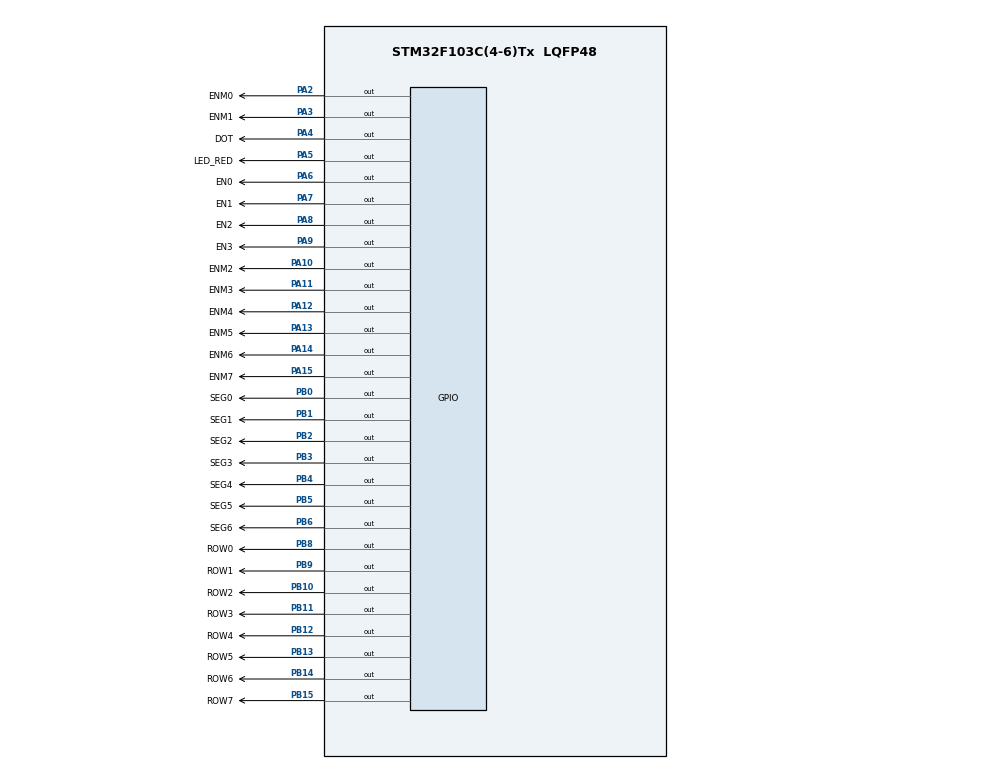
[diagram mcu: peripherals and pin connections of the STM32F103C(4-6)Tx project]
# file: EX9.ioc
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Mcu.Family=STM32F1
Mcu.Name=STM32F103C(4-6)Tx
Mcu.Package=LQFP48
NVIC.PriorityGroup=NVIC_PRIORITYGROUP_4
NVIC.TIM2_IRQn=true\:0\:0\:false\:false\:true\:true\:true
PA10.GPIO_Label=ENM2
PA10.Signal=GPIO_Output
PA11.GPIO_Label=ENM3
PA11.Signal=GPIO_Output
PA12.GPIO_Label=ENM4
PA12.Signal=GPIO_Output
PA13.GPIO_Label=ENM5
PA13.Signal=GPIO_Output
PA14.GPIO_Label=ENM6
PA14.Signal=GPIO_Output
PA15.GPIO_Label=ENM7
PA15.Signal=GPIO_Output
PA2.GPIO_Label=ENM0
PA2.Signal=GPIO_Output
PA3.GPIO_Label=ENM1
PA3.Signal=GPIO_Output
PA4.GPIO_Label=DOT
PA4.Signal=GPIO_Output
PA5.GPIO_Label=LED_RED
PA5.Signal=GPIO_Output
PA6.GPIO_Label=EN0
PA6.Signal=GPIO_Output
PA7.GPIO_Label=EN1
PA7.Signal=GPIO_Output
PA8.GPIO_Label=EN2
PA8.Signal=GPIO_Output
PA9.GPIO_Label=EN3
PA9.Signal=GPIO_Output
PB0.GPIO_Label=SEG0
PB0.Signal=GPIO_Output
PB1.GPIO_Label=SEG1
PB1.Signal=GPIO_Output
PB10.GPIO_Label=ROW2
PB10.Signal=GPIO_Output
PB11.GPIO_Label=ROW3
PB11.Signal=GPIO_Output
PB12.GPIO_Label=ROW4
PB12.Signal=GPIO_Output
PB13.GPIO_Label=ROW5
PB13.Signal=GPIO_Output
PB14.GPIO_Label=ROW6
PB14.Signal=GPIO_Output
PB15.GPIO_Label=ROW7
PB15.Signal=GPIO_Output
PB2.GPIO_Label=SEG2
PB2.Signal=GPIO_Output
PB3.GPIO_Label=SEG3
PB3.Signal=GPIO_Output
PB4.GPIO_Label=SEG4
PB4.Signal=GPIO_Output
PB5.GPIO_Label=SEG5
PB5.Signal=GPIO_Output
PB6.GPIO_Label=SEG6
PB6.Signal=GPIO_Output
PB8.GPIO_Label=ROW0
PB8.Signal=GPIO_Output
PB9.GPIO_Label=ROW1
PB9.Signal=GPIO_Output
ProjectManager.HeapSize=0x200
ProjectManager.StackSize=0x400
ProjectManager.TargetToolchain=STM32CubeIDE
RCC.APB1Freq_Value=8000000
RCC.APB2Freq_Value=8000000
TIM2.Period=9
TIM2.Prescaler=7999
VP_SYS_VS_ND.Mode=No_Debug
VP_TIM2_VS_ClockSourceINT.Mode=Internal
board=custom

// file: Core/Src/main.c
/* USER CODE BEGIN Header */
/**
  ******************************************************************************
  * @file           : main.c
  * @brief          : Main program body
  ******************************************************************************
  * @attention
  *
  * <h2><center>&copy; Copyright (c) 2024 STMicroelectronics.
  * All rights reserved.</center></h2>
  *
  * This software component is licensed by ST under BSD 3-Clause license,
  * the "License"; You may not use this file except in compliance with the
  * License. You may obtain a copy of the License at:
  *                        opensource.org/licenses/BSD-3-Clause
  *
  ******************************************************************************
  */
/* USER CODE END Header */
#include "main.h"

/* USER CODE BEGIN Includes */
#include "updateLEDMatrix.h"
#include "updateCharA.h"
#include "shiftLeft.h"
/* USER CODE END Includes */

TIM_HandleTypeDef htim2;

void SystemClock_Config(void);
static void MX_TIM2_Init(void);
static void MX_GPIO_Init(void);

/* USER CODE BEGIN 0 */
int timer0_counter = 0;
int timer0_flag = 0;
int TIMER_CYCLE = 10;
void setTimer0(int duration)
{
	timer0_counter = duration/TIMER_CYCLE;
	timer0_flag = 0;
}
void timer_run()
{
	if(timer0_counter > 0 )
	{
		timer0_counter --;
	}
	if(timer0_counter == 0) timer0_flag = 1;
}
/* USER CODE END 0 */

int main(void)
{
  /* USER CODE BEGIN 1 */
	// ex10
	cloneMatrix();
  /* USER CODE END 1 */

  /* MCU Configuration--------------------------------------------------------*/

  /* Reset of all peripherals, Initializes the Flash interface and the Systick. */
  HAL_Init();

  /* Configure the system clock */
  SystemClock_Config();

  /* Initialize all configured peripherals */
  MX_TIM2_Init();
  MX_GPIO_Init();
  /* USER CODE BEGIN 2 */
  HAL_TIM_Base_Start_IT(&htim2);
  /* USER CODE END 2 */

  /* Infinite loop */
  /* USER CODE BEGIN WHILE */
  setTimer0 (10);
//  int counter_matrix = 0;
  int counter_chA = 0;
//   int matrix_flag = 1; ex9

   	 //ex10
    int counter_for_shift = 100;
  while (1)
  {
	  //ex9
	  /*if(timer0_flag == 1)
	  	  {
	  		  if(matrix_flag == 1)
	  		  {
	  			  updateLEDMatrix(counter_matrix++);
	  			  if(counter_matrix == 8) matrix_flag = 0;
	  		  }
	  		  else
	  		  {
	  			  updateCharA(counter_chA++);
	  			  if(counter_chA == 8)
	  			  {
	  				  counter_chA = 0;
	  			  }
	  		  }
	  		  setTimer0(10);
	  	  }
	  	  */
	  if(timer0_flag == 1)
	  	  {
	  		  counter_for_shift--;
	  		  if(counter_for_shift <= 0)
	  		  {
	  			  shiftLeft(matrix);
	  			  counter_for_shift = 100;
	  		  }
	  		  updateCharA(counter_chA++, matrix);
	  		  if(counter_chA == 8)
	  		  {
	  			  counter_chA = 0;
	  		  }
	  		  setTimer0(10);
	  	  }
    /* USER CODE END WHILE */

  }
}

void SystemClock_Config(void)
{
  RCC_OscInitTypeDef RCC_OscInitStruct = {0};
  RCC_ClkInitTypeDef RCC_ClkInitStruct = {0};

  /** Initializes the RCC Oscillators according to the specified parameters
  * in the RCC_OscInitTypeDef structure.
  */
  RCC_OscInitStruct.OscillatorType = RCC_OSCILLATORTYPE_HSI;
  RCC_OscInitStruct.HSIState = RCC_HSI_ON;
  RCC_OscInitStruct.HSICalibrationValue = RCC_HSICALIBRATION_DEFAULT;
  RCC_OscInitStruct.PLL.PLLState = RCC_PLL_NONE;
  if (HAL_RCC_OscConfig(&RCC_OscInitStruct) != HAL_OK)
  {
    Error_Handler();
  }
  /** Initializes the CPU, AHB and APB buses clocks
  */
  RCC_ClkInitStruct.ClockType = RCC_CLOCKTYPE_HCLK|RCC_CLOCKTYPE_SYSCLK
                              |RCC_CLOCKTYPE_PCLK1|RCC_CLOCKTYPE_PCLK2;
  RCC_ClkInitStruct.SYSCLKSource = RCC_SYSCLKSOURCE_HSI;
  RCC_ClkInitStruct.AHBCLKDivider = RCC_SYSCLK_DIV1;
  RCC_ClkInitStruct.APB1CLKDivider = RCC_HCLK_DIV1;
  RCC_ClkInitStruct.APB2CLKDivider = RCC_HCLK_DIV1;

  if (HAL_RCC_ClockConfig(&RCC_ClkInitStruct, FLASH_LATENCY_0) != HAL_OK)
  {
    Error_Handler();
  }
}

static void MX_TIM2_Init(void)
{

  TIM_ClockConfigTypeDef sClockSourceConfig = {0};
  TIM_MasterConfigTypeDef sMasterConfig = {0};

  htim2.Instance = TIM2;
  htim2.Init.Prescaler = 7999;
  htim2.Init.CounterMode = TIM_COUNTERMODE_UP;
  htim2.Init.Period = 9;
  htim2.Init.ClockDivision = TIM_CLOCKDIVISION_DIV1;
  htim2.Init.AutoReloadPreload = TIM_AUTORELOAD_PRELOAD_DISABLE;
  if (HAL_TIM_Base_Init(&htim2) != HAL_OK)
  {
    Error_Handler();
  }
  sClockSourceConfig.ClockSource = TIM_CLOCKSOURCE_INTERNAL;
  if (HAL_TIM_ConfigClockSource(&htim2, &sClockSourceConfig) != HAL_OK)
  {
    Error_Handler();
  }
  sMasterConfig.MasterOutputTrigger = TIM_TRGO_RESET;
  sMasterConfig.MasterSlaveMode = TIM_MASTERSLAVEMODE_DISABLE;
  if (HAL_TIMEx_MasterConfigSynchronization(&htim2, &sMasterConfig) != HAL_OK)
  {
    Error_Handler();
  }

}

static void MX_GPIO_Init(void)
{
  GPIO_InitTypeDef GPIO_InitStruct = {0};

  /* GPIO Ports Clock Enable */
  __HAL_RCC_GPIOA_CLK_ENABLE();
  __HAL_RCC_GPIOB_CLK_ENABLE();

  /*Configure GPIO pin Output Level */
  HAL_GPIO_WritePin(GPIOA, ENM0_Pin|ENM1_Pin|DOT_Pin|LED_RED_Pin
                          |EN0_Pin|EN1_Pin|EN2_Pin|EN3_Pin
                          |ENM2_Pin|ENM3_Pin|ENM4_Pin|ENM5_Pin
                          |ENM6_Pin|ENM7_Pin, GPIO_PIN_RESET);

  /*Configure GPIO pin Output Level */
  HAL_GPIO_WritePin(GPIOB, SEG0_Pin|SEG1_Pin|SEG2_Pin|ROW2_Pin
                          |ROW3_Pin|ROW4_Pin|ROW5_Pin|ROW6_Pin
                          |ROW7_Pin|SEG3_Pin|SEG4_Pin|SEG5_Pin
                          |SEG6_Pin|ROW0_Pin|ROW1_Pin, GPIO_PIN_RESET);

  /*Configure GPIO pins : ENM0_Pin ENM1_Pin DOT_Pin LED_RED_Pin
                           EN0_Pin EN1_Pin EN2_Pin EN3_Pin
                           ENM2_Pin ENM3_Pin ENM4_Pin ENM5_Pin
                           ENM6_Pin ENM7_Pin */
  GPIO_InitStruct.Pin = ENM0_Pin|ENM1_Pin|DOT_Pin|LED_RED_Pin
                          |EN0_Pin|EN1_Pin|EN2_Pin|EN3_Pin
                          |ENM2_Pin|ENM3_Pin|ENM4_Pin|ENM5_Pin
                          |ENM6_Pin|ENM7_Pin;
  GPIO_InitStruct.Mode = GPIO_MODE_OUTPUT_PP;
  GPIO_InitStruct.Pull = GPIO_NOPULL;
  GPIO_InitStruct.Speed = GPIO_SPEED_FREQ_LOW;
  HAL_GPIO_Init(GPIOA, &GPIO_InitStruct);

  /*Configure GPIO pins : SEG0_Pin SEG1_Pin SEG2_Pin ROW2_Pin
                           ROW3_Pin ROW4_Pin ROW5_Pin ROW6_Pin
                           ROW7_Pin SEG3_Pin SEG4_Pin SEG5_Pin
                           SEG6_Pin ROW0_Pin ROW1_Pin */
  GPIO_InitStruct.Pin = SEG0_Pin|SEG1_Pin|SEG2_Pin|ROW2_Pin
                          |ROW3_Pin|ROW4_Pin|ROW5_Pin|ROW6_Pin
                          |ROW7_Pin|SEG3_Pin|SEG4_Pin|SEG5_Pin
                          |SEG6_Pin|ROW0_Pin|ROW1_Pin;
  GPIO_InitStruct.Mode = GPIO_MODE_OUTPUT_PP;
  GPIO_InitStruct.Pull = GPIO_NOPULL;
  GPIO_InitStruct.Speed = GPIO_SPEED_FREQ_LOW;
  HAL_GPIO_Init(GPIOB, &GPIO_InitStruct);

}

/* USER CODE BEGIN 4 */
void HAL_TIM_PeriodElapsedCallback ( TIM_HandleTypeDef * htim )
{
	timer_run();
};
/* USER CODE END 4 */

void Error_Handler(void)
{
  __disable_irq();
  while (1)
  {
  }
}

/************************ (C) COPYRIGHT STMicroelectronics *****END OF FILE****/
